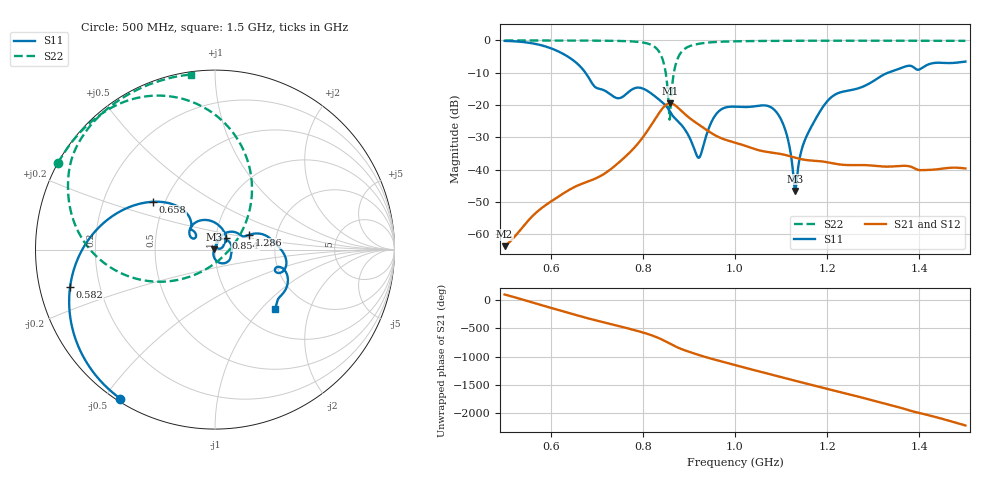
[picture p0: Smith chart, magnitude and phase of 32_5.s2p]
! TOUCHSTONE file generated by CST MICROWAVE STUDIO
! Date and time: Mon Oct 26 12:29:55 2020
! Project name: Scenario_1_Circular_Tissue_out_of_Line.cst
! Parameters = {dy1=191.571; L_HA=400; MT=2.54; Rad_Dielectric=30; Rad_Lower=7.3; Rad_Upper=30; a_HA=580; a_WG=246; b_HA=500; b_WG=121; c_HA=0; c_WG=187; d_feed=85; dx1=866; h_feed=15; h_lower=18; h_upper=40}
! Header version: 2018
! Port assignment regex: !\s*Touchstone port\s*([0-9]+)\s*=\s*(CST MWS port|CST DS port)\s*([0-9]+|Zmin|Zmax)\s*\(\"(.*)\"\)(\s*mode\s*([0-9]+))?.*
! Touchstone port assignment:
! Touchstone port 1 = CST MWS port 1 ("")
! Touchstone port 2 = CST MWS port 2 ("")
# GHz S DB R 50
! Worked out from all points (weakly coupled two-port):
!   1001 points, 500 MHz to 1.5 GHz, reference 50 ohm
!   highest |S21| = -19.44 dB at 859 MHz (marker M1); lowest = -63.7 dB at 500 MHz (marker M2)
!   lowest |S11| = -46.6 dB at 1.131 GHz (marker M3), VSWR 1.01, Z = 49.6 + j0.231 ohm
!   |S11| at or under -10 dB: 675.5 MHz to 1.332 GHz (656.4 MHz wide, 65.4 % of centre)
!   |S22| runs from -24.5 to 0.0 dB; largest |S21 - S12| = 2.7e-05
!   S11 on the Smith chart (normalised r, x): 500 MHz: 0.01, -0.55; 582 MHz: 0.09, -0.12; 658 MHz: 0.43, +0.28; 854 MHz: 1.12, +0.15; 1.286 GHz: 1.44, +0.25; 1.5 GHz: 1.40, -1.20
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0.5  -0.14 -122.4  -63.67 93.5  -63.67 93.5  -0.01 151.1
0.582  -1.59 -165.7  -51.70 -98.9  -51.70 -98.9  -0.02 145.5
0.658  -7.21 142.3  -44.93 85.8  -44.93 85.8  -0.04 139.2
0.667  -8.49 135.9  -44.40 64.9  -44.39 64.9  -0.04 138.4
0.74  -17.65 143.5  -38.73 -85.3  -38.73 -85.3  -0.13 129.3
0.779  -14.98 142.4  -33.58 -167.9  -33.58 -167.9  -0.32 120.7
0.834  -18.18 71.9  -22.73 47.3  -22.73 47.3  -3.22 84.1
0.846  -19.65 57.1  -20.48 1.8  -20.48 1.8  -7.41 61.2
0.854  -20.91 46.0  -19.60 -32.1  -19.60 -32.1  -15.51 31.8
0.859  -22.03 39.9  -19.44 -53.9  -19.44 -53.9  -23.80 -73.6
0.878  -25.24 27.2  -21.04 -128.9  -21.04 -128.9  -4.85 -168.7
0.921  -36.32 42.5  -26.02 108.5  -26.02 108.5  -1.05 157.5
0.958  -23.02 56.6  -29.44 20.9  -29.44 20.9  -0.48 147.4
1  -20.50 4.4  -31.61 -69.7  -31.61 -69.7  -0.27 140.3
1.09  -22.20 -71.0  -34.92 99.7  -34.92 99.7  -0.13 130.6
1.112  -29.06 -102.7  -35.55 51.9  -35.55 51.9  -0.12 128.7
1.131  -46.61 150.1  -36.30 12.0  -36.30 12.0  -0.11 127.1
1.167  -26.35 69.0  -37.19 -60.3  -37.19 -60.3  -0.10 124.2
1.212  -17.24 46.6  -38.02 -154.8  -38.02 -154.9  -0.09 120.7
1.286  -13.75 23.5  -38.60 53.4  -38.60 53.4  -0.08 115.1
1.334  -9.88 9.8  -39.04 -48.1  -39.04 -48.1  -0.08 111.5
1.5  -6.55 -44.9  -39.61 -55.4  -39.63 -55.5  -0.13 97.9
